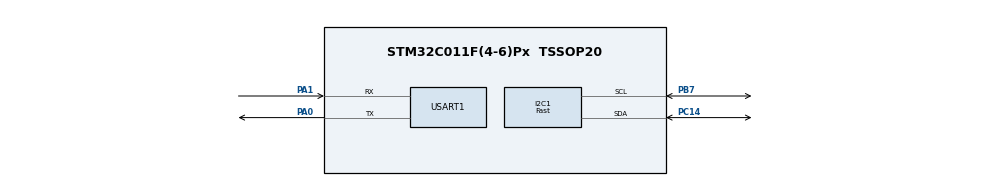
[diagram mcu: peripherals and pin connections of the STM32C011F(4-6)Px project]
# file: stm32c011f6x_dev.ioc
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Dma.MEMTOMEM.0.Direction=DMA_MEMORY_TO_MEMORY
Dma.MEMTOMEM.0.EventEnable=DISABLE
Dma.MEMTOMEM.0.Instance=DMA1_Channel1
Dma.MEMTOMEM.0.MemDataAlignment=DMA_MDATAALIGN_BYTE
Dma.MEMTOMEM.0.MemInc=DMA_MINC_ENABLE
Dma.MEMTOMEM.0.Mode=DMA_NORMAL
Dma.MEMTOMEM.0.PeriphDataAlignment=DMA_PDATAALIGN_BYTE
Dma.MEMTOMEM.0.PeriphInc=DMA_PINC_ENABLE
Dma.MEMTOMEM.0.Polarity=HAL_DMAMUX_REQ_GEN_RISING
Dma.MEMTOMEM.0.Priority=DMA_PRIORITY_LOW
Dma.MEMTOMEM.0.RequestNumber=1
Dma.MEMTOMEM.0.SignalID=NONE
Dma.MEMTOMEM.0.SyncEnable=DISABLE
Dma.MEMTOMEM.0.SyncPolarity=HAL_DMAMUX_SYNC_NO_EVENT
Dma.MEMTOMEM.0.SyncRequestNumber=1
Dma.MEMTOMEM.0.SyncSignalID=NONE
Dma.Request0=MEMTOMEM
I2C1.I2C_Speed_Mode=I2C_Fast
I2C1.Timing=0x0090194B
Mcu.Family=STM32C0
Mcu.Name=STM32C011F(4-6)Px
Mcu.Package=TSSOP20
NVIC.I2C1_IRQn=true\:0\:0\:false\:false\:true\:true\:true\:true
NVIC.USART1_IRQn=true\:0\:0\:false\:false\:true\:true\:true\:true
PA0.Mode=Asynchronous
PA0.Signal=USART1_TX
PA1.Mode=Asynchronous
PA1.Signal=USART1_RX
PA13.Mode=Serial_Wire
PA13.Signal=DEBUG_SWDIO
PA14-BOOT0.Mode=Serial_Wire
PA14-BOOT0.Signal=DEBUG_SWCLK
PB7.Mode=I2C
PB7.Signal=I2C1_SCL
PC14-OSCX_IN\ (PC14).Mode=I2C
PC14-OSCX_IN\ (PC14).Signal=I2C1_SDA
ProjectManager.HeapSize=0x100
ProjectManager.StackSize=0x300
ProjectManager.TargetToolchain=CMake
RCC.ADCFreq_Value=48000000
RCC.AHBFreq_Value=48000000
RCC.CortexFreq_Value=48000000
RCC.EXTERNAL_CLOCK_VALUE=12288000
RCC.HCLKFreq_Value=48000000
RCC.HSE_VALUE=8000000
RCC.HSISYSCLKDivider=RCC_HSI_DIV1
RCC.HSI_VALUE=48000000
RCC.LSE_VALUE=32768
RCC.SYSCLKFreq_VALUE=48000000
USART1.VirtualMode-Asynchronous=VM_ASYNC
board=custom

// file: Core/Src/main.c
/* USER CODE BEGIN Header */
/**
  ******************************************************************************
  * @file           : main.c
  * @brief          : Main program body
  ******************************************************************************
  * @attention
  *
  * Copyright (c) 2025 STMicroelectronics.
  * All rights reserved.
  *
  * This software is licensed under terms that can be found in the LICENSE file
  * in the root directory of this software component.
  * If no LICENSE file comes with this software, it is provided AS-IS.
  *
  ******************************************************************************
  */
/* USER CODE END Header */
#include "main.h"
#include "dma.h"
#include "i2c.h"
#include "usart.h"
#include "gpio.h"

/* USER CODE BEGIN Includes */
#include <stdint.h>
#include <string.h>
#include <stdbool.h>
/* USER CODE END Includes */

/* USER CODE BEGIN PTD */
#define FLASH_32KB_TEST
/* USER CODE END PTD */

/* USER CODE BEGIN PV */

// NOTE: STM32C011F4x, J4xのROM 16KB品でも32KBまで書けるICがあるらしいからテスト用
#ifdef FLASH_32KB_TEST
volatile const uint8_t g_dmy_tbl[0x7000] = {0};
#endif // FLASH_32KB_TEST

/* USER CODE END PV */

void SystemClock_Config(void);

int main(void)
{

  /* MCU Configuration--------------------------------------------------------*/

  /* Reset of all peripherals, Initializes the Flash interface and the Systick. */
  LL_APB2_GRP1_EnableClock(LL_APB2_GRP1_PERIPH_SYSCFG);
  LL_APB1_GRP1_EnableClock(LL_APB1_GRP1_PERIPH_PWR);

  /* SysTick_IRQn interrupt configuration */
  NVIC_SetPriority(SysTick_IRQn, 3);

  /* Configure the system clock */
  SystemClock_Config();

  /* Initialize all configured peripherals */
  MX_GPIO_Init();
  MX_DMA_Init();
  MX_I2C1_Init();
  MX_USART1_UART_Init();
  /* USER CODE BEGIN 2 */

  // NOTE: STM32C011のROM 16KB品でも32KBまで書けるICのテスト用無駄コード
#ifdef FLASH_32KB_TEST
  bool is_error = false;
  uint8_t ref_val = 0;
  uint16_t i;

  for(i = 0; i < 0x7000; i++)
  {
    if(ref_val != g_dmy_tbl[i]) {
      is_error = true;
    }
  }

  if (is_error)
  {
    NVIC_SystemReset();
  }
#endif // FLASH_32KB_TEST

  /* USER CODE END 2 */

  /* Infinite loop */
  while (1)
  {

  }
}

void SystemClock_Config(void)
{

  LL_FLASH_SetLatency(LL_FLASH_LATENCY_1);

  /* HSI configuration and activation */
  LL_RCC_HSI_Enable();
  while(LL_RCC_HSI_IsReady() != 1)
  {
  }

  LL_RCC_HSI_SetCalibTrimming(64);
  LL_RCC_SetHSIDiv(LL_RCC_HSI_DIV_1);
  /* Set AHB prescaler*/
  LL_RCC_SetAHBPrescaler(LL_RCC_HCLK_DIV_1);

  /* Sysclk activation on the HSI */
  LL_RCC_SetSysClkSource(LL_RCC_SYS_CLKSOURCE_HSI);
  while(LL_RCC_GetSysClkSource() != LL_RCC_SYS_CLKSOURCE_STATUS_HSI)
  {
  }

  /* Set APB1 prescaler*/
  LL_RCC_SetAPB1Prescaler(LL_RCC_APB1_DIV_1);
  LL_Init1msTick(48000000);
  /* Update CMSIS variable (which can be updated also through SystemCoreClockUpdate function) */
  LL_SetSystemCoreClock(48000000);
}

void Error_Handler(void)
{
  __disable_irq();
  while (1)
  {
  }
}
